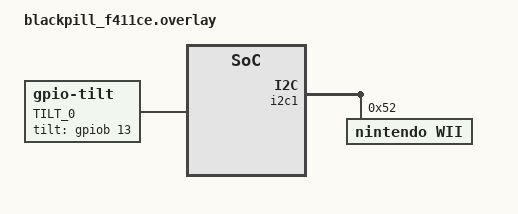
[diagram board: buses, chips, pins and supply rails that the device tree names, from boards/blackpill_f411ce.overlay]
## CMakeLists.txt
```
# Build script for shredlink application firmware
#
# Copyright (c) 2021 Brian Bradley

cmake_minimum_required(VERSION 3.20.0)
set(CMAKE_EXPORT_COMPILE_COMMANDS ON CACHE INTERNAL "")
list (APPEND SYSCALL_INCLUDE_DIRS 
    ${CMAKE_SOURCE_DIR}/../extras/drivers/wii
)
find_package(Zephyr REQUIRED HINTS $ENV{ZEPHYR_BASE})

project(shredlink LANGUAGES C VERSION 0.2.0)

configure_file(app_version.h.in ${CMAKE_BINARY_DIR}/app/include/app_version.h)
target_include_directories(app PRIVATE ${CMAKE_BINARY_DIR}/app/include src)

set(SHREDLINK_SOURCES
        src/main.c
        src/hid.c
)

if (CONFIG_GAMEPAD_DAQ_POLL_MODE)
    list(APPEND SHREDLINK_SOURCES src/polling.c)
else()
    message(FATAL_ERROR "Polling mode is disabled but is currently required, as interrupt mode is not yet supported.")
endif()

if (CONFIG_TILT_SENSOR)
    list(APPEND SHREDLINK_SOURCES src/tilt.c)
endif()

include_directories(include)
target_sources(app PRIVATE ${SHREDLINK_SOURCES})
```

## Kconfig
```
# Copyright (c) 2021 Brian Bradley
#
# This file is the application Kconfig entry point.

menu "Zephyr"
source "Kconfig.zephyr"
endmenu

menu "shredlink"
module = SHREDLINK
module-str = shredlink
source "subsys/logging/Kconfig.template.log_config"

config GAMEPAD_DAQ_POLL_MODE
    bool "Capture data from the gamepad via polling (as opposed to interrupt)"
    default y
    select POLL
    help
      Currently this is the only supported method of data acquisition.
      Eventually when more gamepad backends are supported (which support interrupts)
      this will be configurable.
if GAMEPAD_DAQ_POLL_MODE
    config GAMEPAD_POLL_RATE_HZ
        int "Set the poll rate for refreshing data from the gamepad"
        range 10 2500
        default 1100
        help
        The poll rate is in Hz (or frames per second).
endif
config SHREDLINK_DAQ_STACKSIZE
    int "Size of the stack allowed for the data acquisition process"
    range 512 8192
    default 2048
config SHREDLINK_DAQ_PRIORITY
    int "Priority for the data acquisition process"
    range 0 7
    default 7
config SHREDLINK_DAQ_START_DELAY
    int "Delay (in milliseconds) before starting the daq process"
    range 0 5000
    default 0
config SHREDLINK_HID_STACKSIZE
    int "Size of the stack allowed for the hid reporting process"
    range 512 8192
    default 2048
config SHREDLINK_HID_PRIORITY
    int "Priority for the hid reporting process"
    range 0 7
    default 7
endmenu
```

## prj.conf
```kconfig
# Copyright (c) 2022 Brian Bradley
#
# This file contains selected Kconfig options for the shredlink application firmware.

CONFIG_EVENTS=y
CONFIG_WII_PERIPHERAL_DRIVER=y
CONFIG_I2C=y
CONFIG_APPLICATION_DEFINED_SYSCALL=y
CONFIG_USB_DEVICE_STACK=y
CONFIG_USB_DEVICE_HID=y
CONFIG_USB_DEVICE_PRODUCT="shredlink"
CONFIG_USB_HID_POLL_INTERVAL_MS=0
CONFIG_GAMEPAD_POLL_RATE_HZ=1400

# Tilt sensor configuration
CONFIG_SENSOR=y
CONFIG_GPIO=y
CONFIG_TILT_SENSOR=y
CONFIG_GPIO_TILT_SENSOR=y
CONFIG_TILT_SENSOR_TRIGGER=y
CONFIG_TILT_SENSOR_TRIGGER_OWN_THREAD=y
CONFIG_TILT_SENSOR_MINIMUM_HOLD_TIME_MS=150
```

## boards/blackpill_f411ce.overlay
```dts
/*
 * Copyright 2021 Brian Bradley
 *
 * SPDX-License-Identifier: Apache-2.0
 */

&i2c1 {
	wii_guitar: wii@52 {
		compatible = "nintendo,wii";
		reg = <0x52>;
		label = "WII";
	};
};

/ {
    tilt0: tilt_0 {
        label = "TILT_0";
        compatible = "gpio-tilt";
        tilt-gpios = <&gpiob 13 (GPIO_ACTIVE_HIGH | GPIO_PULL_UP)>;
    };
};
```

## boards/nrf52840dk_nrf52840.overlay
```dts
/*
 * Copyright 2021 Brian Bradley
 *
 * SPDX-License-Identifier: Apache-2.0
 */

&i2c0 {
	wii_guitar: wii@52 {
		compatible = "nintendo,wii";
		reg = <0x52>;
		label = "WII";
	};
};

/ {
    tilt0: tilt_0 {
        label = "TILT_0";
        compatible = "gpio-tilt";
        tilt-gpios = <&gpio0 2 (GPIO_PULL_UP | GPIO_ACTIVE_LOW)>;
    };
};
```

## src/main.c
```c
/**
 * @file main.c
 * @author Brian Bradley (brian.bradley.p@gmail.com)
 * @date 2022-02-18
 * 
 * @copyright Copyright (C) 2022 Brian Bradley
 * 
 * SPDX-License-Identifier: Apache-2.0
 * 
 */

#include <zephyr/kernel.h>
#include <zephyr/logging/log.h>
#include <app_version.h>

LOG_MODULE_REGISTER(shredlink, CONFIG_SHREDLINK_LOG_LEVEL);

void main(void)
{
	LOG_INF("Starting %s version: %s", APP_NAME_STR, APP_VERSION_STR);
}
```

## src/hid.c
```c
/**
 * @file hid.c
 * @author Brian Bradley (brian.bradley.p@gmail.com)
 * @date 2022-02-21
 * 
 * @copyright Copyright (C) 2022 Brian Bradley
 * 
 * SPDX-License-Identifier: Apache-2.0
 * 
 */
#include <zephyr/kernel.h>
#include <zephyr/device.h>
#include <zephyr/logging/log.h>
#include <shredlink/hid.h>
#include <zephyr/usb/usb_device.h>
#include <zephyr/usb/class/usb_hid.h>

LOG_MODULE_DECLARE(shredlink, CONFIG_SHREDLINK_LOG_LEVEL);

#ifdef CONFIG_TILT_SENSOR
#define BTN_COUNT	10
#else
#define BTN_COUNT 9
#endif
static const uint8_t hid_report_desc[] = 
{
	HID_USAGE_PAGE(HID_USAGE_GEN_DESKTOP),
	HID_USAGE(HID_USAGE_GEN_DESKTOP_GAMEPAD),
	HID_COLLECTION(HID_COLLECTION_APPLICATION),
	HID_COLLECTION(HID_COLLECTION_PHYSICAL),
			/* Bits used for button signalling */
			HID_USAGE_PAGE(HID_USAGE_GEN_BUTTON),
			HID_USAGE_MIN8(1),
			HID_USAGE_MAX8(BTN_COUNT),
			HID_LOGICAL_MIN8(0),
			HID_LOGICAL_MAX8(1),
			HID_REPORT_COUNT(BTN_COUNT),
			HID_REPORT_SIZE(1),
			/* HID_INPUT (Data,Var,Abs) */
			HID_INPUT(0x02),
			/* Unused bits */
			HID_REPORT_SIZE(16 - BTN_COUNT),
			HID_REPORT_COUNT(1),
			/* HID_INPUT (Cnst,Ary,Abs) */
			HID_INPUT(1),
			/* X and Y axis joystick */
			HID_USAGE_PAGE(HID_USAGE_GEN_DESKTOP),
			HID_USAGE(HID_USAGE_GEN_DESKTOP_X),
			HID_USAGE(HID_USAGE_GEN_DESKTOP_Y),
			HID_LOGICAL_MIN8(0),
			HID_LOGICAL_MAX8(63),
			HID_REPORT_SIZE(8),
			HID_REPORT_COUNT(2),
			/* HID_INPUT (Data,Var,Abs) */
			HID_INPUT(0x02),
			/* whammy bar */
			HID_USAGE_PAGE(HID_USAGE_GEN_DESKTOP),
            /* Slider object. May be a more appropriate usage */
			HID_USAGE(0x36),
			HID_LOGICAL_MIN8(0),
			HID_LOGICAL_MAX8(31),
			HID_REPORT_SIZE(8),
			HID_REPORT_COUNT(1),
			/* HID_INPUT (Data,Var,Abs) */
			HID_INPUT(0x02),
		HID_END_COLLECTION,
	HID_END_COLLECTION,
};

/**
 * @brief Pack the hid report so that it can be sent raw
 * rather than packing into a coniguous array manually.
 * 
 */
struct __attribute__((packed)) hid_report{
	uint16_t buttons;
	uint8_t axes[2];
	uint8_t whammy;
};

K_MSGQ_DEFINE(hid_msgq, sizeof(struct hid_report), 5, 4);

/**
 * @brief Packs gamepad data into the prepared hid report format
 * 
 * @param rpt : pointer to hid report to fill
 * @param data : pointer to data frame with which to fill the report
 * @retval -ENODEV on rpt or data NULL
 * @retval 0 on success
 */
static int fill_hid_report(struct hid_report * rpt, struct gamepad * data){
	if (rpt == NULL || data == NULL){
		return -ENODEV;
	}
	rpt->axes[0] = data->axes[0];
	rpt->axes[1] = data->axes[1];
	rpt->whammy = data->axes[2];
	rpt->buttons = data->buttons;
	return 0;
}

int submit_frame_data(struct gamepad * frame){
    struct hid_report report;
    int ret = fill_hid_report(&report, frame);
    if (ret == 0){
            while ((ret = k_msgq_put(&hid_msgq, &report, K_NO_WAIT)) != 0) {
            /* message queue is full: purge old data & try again */
            k_msgq_purge(&hid_msgq);
        }
    }
    return ret;
}

static enum usb_dc_status_code usb_status;
static void status_cb(enum usb_dc_status_code status, const uint8_t *param)
{
	usb_status = status;
}

void hid_process(void){
    const struct device *hid;
	int ret;
    hid = device_get_binding("HID_0");
	if (hid == NULL) {
		LOG_ERR("Cannot get USB HID Device");
		return;
	}
	usb_hid_register_device(hid,
				hid_report_desc, sizeof(hid_report_desc),
				NULL);

	usb_hid_init(hid);

	ret = usb_enable(status_cb);
	if (ret != 0) {
		LOG_ERR("Failed to enable USB");
		return;
	}
	struct hid_report last_report = {0};
    while(1){
        /* Grab the latest report when it is available,
        and send it if the data is new */
        struct hid_report report = {0};
        if (k_msgq_get(&hid_msgq, &report, K_FOREVER) == 0)
		{
            /* Check if the report is new */
            if (memcmp(&report, &last_report, sizeof(struct hid_report)) != 0){
				/* Data doesn't match. Immediately send an update to the host. */
				ret = hid_int_ep_write(hid, (const uint8_t *)&report, sizeof(report), NULL);
				if (ret) {
					LOG_ERR("HID write error, %d", ret);
				}
                /* Update the latest data */
			    memcpy(&last_report, &report, sizeof(struct hid_report));
			}
        }
    }
}

K_THREAD_DEFINE(hid_reporting, CONFIG_SHREDLINK_HID_STACKSIZE, hid_process, 
	NULL, NULL, NULL, CONFIG_SHREDLINK_HID_PRIORITY, 0, 0);
```

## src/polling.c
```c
/**
 * @file polling.c
 * @author Brian Bradley (brian.bradley.p@gmail.com)
 * @brief Poll gamepad for new data when in polling acquisiton mode.
 * @date 2022-02-20
 * 
 * @copyright Copyright (C) 2022 Brian Bradley
 * 
 * SPDX-License-Identifier: Apache-2.0
 * 
 */
#include <zephyr/kernel.h>
#include <wii.h>
#include <zephyr/sys/util.h>
#include <zephyr/logging/log.h>
#include <shredlink/daq.h>
#include <shredlink/hid.h>

LOG_MODULE_DECLARE(shredlink, CONFIG_SHREDLINK_LOG_LEVEL);

K_EVENT_DEFINE(tilt_ev);

#define EVENT_TILT_ACTIVE	BIT(0)
#define EVENT_TILT_INACTIVE	BIT(1)

/**
 * @TODO: This will eventually be moved into the gamepad api
 * 
 */
struct __attribute__((packed)) guitar_data{
	uint8_t analog_x: 6;
	uint8_t gh0: 2;
	uint8_t analog_y: 6;
	uint8_t gh1: 2;
	uint8_t touchbar: 5;
	uint8_t empty0: 3;
	uint8_t whammy: 5;
	uint8_t empty1: 3;
	uint8_t empty2: 2;
	uint8_t button_plus: 1;
	uint8_t empty3: 1;
	uint8_t button_minus: 1;
	uint8_t empty4: 1;
	uint8_t strum_down: 1;
	uint8_t empty5: 1;
	uint8_t strum_up: 1;
	uint8_t empty6: 2;
	uint8_t neck: 5;
};

/**
 * @brief This union is a conveient container which allows
 * easily converting between raw frame data, and useful
 * gamepad data without needing to mask and shift everything
 * manually.
 * 
 */
typedef union wii_data_fmt{
	struct wii_btn_data frame;
	struct guitar_data guitar;
}wii_fmt_t;

struct polling_work_item{
    struct k_work_poll work;
    struct k_poll_signal signal;
    struct k_poll_event event;
};

int signal_tilt_event(bool tilt){
	uint32_t event = tilt ? EVENT_TILT_ACTIVE : EVENT_TILT_INACTIVE;
	k_event_set(&tilt_ev, event);
	return 0;
}

static int pack_gamepad_data(struct gamepad * packed, struct wii_btn_data frame, int32_t tilt){
	if (packed == NULL){
		return -ENODEV;
	}
    wii_fmt_t fmt = {
        .frame = frame
    };
	packed->axes[0] = fmt.guitar.analog_x;
	packed->axes[1] = fmt.guitar.analog_y;
	packed->axes[2] = fmt.guitar.whammy;
	packed->buttons = fmt.guitar.neck;
	WRITE_BIT(packed->buttons, 5, fmt.guitar.button_plus);
	WRITE_BIT(packed->buttons, 6, fmt.guitar.button_minus);
	WRITE_BIT(packed->buttons, 7, fmt.guitar.strum_up);
	WRITE_BIT(packed->buttons, 8, fmt.guitar.strum_down);
    WRITE_BIT(packed->buttons, 9, !tilt);

    /**
     * @TODO: The logic level is inverted on the wii guitar I am testing with.
     * This should be handled in the gamepad API instead of the application layer.
     * 
     */
	packed->buttons ^= UINT32_MAX; /* logic level is inverted */
	LOG_DBG("report: x: %d y: %d whammy: %d buttons: %02x", packed->axes[0], packed->axes[1], packed->axes[2], packed->buttons);
	return 0;
}

/**
 * @brief work process which handles data acquisition
 * and submission of a single data frame.
 * 
 * @param work : work queue entry item
 */
static void poll_work_item(struct k_work *work){
    const struct device *wii = DEVICE_DT_GET(DT_NODELABEL(wii_guitar));
    int ret = 0;
    struct wii_btn_data data = {0};
    if ((ret = wii_peripheral_fetch(wii, &data)) != 0){
        LOG_ERR("gamepad fetch error: %d", ret);
    }
    else{
        /* Data retrieved. Check if tilt data became available */
		uint32_t events;
		static int32_t tilt = 0;
		events = k_event_wait(&tilt_ev, 
			EVENT_TILT_ACTIVE | EVENT_TILT_INACTIVE, 
			false, K_NO_WAIT);
		if (events & EVENT_TILT_ACTIVE){
			tilt = 1;
		}
		else if (events & EVENT_TILT_INACTIVE){
			tilt = 0;
		}
		/* Pack the data and submit it for output */
        struct gamepad gamepad;
        pack_gamepad_data(&gamepad, data, tilt);
        submit_frame_data(&gamepad);
    }
}

void gamepad_polling_process(void){
    static struct polling_work_item work_item;

    k_work_poll_init(&work_item.work, poll_work_item);
    k_poll_signal_init(&work_item.signal);
    k_poll_event_init(&work_item.event, 
                    K_POLL_TYPE_SIGNAL,
                    K_POLL_MODE_NOTIFY_ONLY,
                    &work_item.signal);

	while (1) {
        /* Submit work to the system workqueue to be processed in parallel
        to the waiting process. This way, any process latency associated
        with data acquisition and submission is fully decoupled from the
        requested poll rate. */
        k_work_poll_submit(&work_item.work, &work_item.event, 1, K_NO_WAIT);
		k_usleep(USEC_PER_SEC / CONFIG_GAMEPAD_POLL_RATE_HZ);
	}
}

K_THREAD_DEFINE(poller, CONFIG_SHREDLINK_DAQ_STACKSIZE, gamepad_polling_process, 
	NULL, NULL, NULL, CONFIG_SHREDLINK_DAQ_PRIORITY, 0, CONFIG_SHREDLINK_DAQ_START_DELAY);
```

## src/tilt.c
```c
/**
 * @file tilt.c
 * @author Brian Bradley (brian.bradley.p@gmail.com)
 * @date 2022-02-26
 * 
 * @copyright Copyright (C) 2022 Brian Bradley
 * 
 * SPDX-License-Identifier: Apache-2.0
 * 
 */
#include <zephyr/zephyr.h>
#include <zephyr/logging/log.h>
#include <zephyr/device.h>
#include <zephyr/drivers/sensor.h>
#include <drivers/sensor/tilt.h>
#include <shredlink/daq.h>

LOG_MODULE_DECLARE(shredlink, CONFIG_SHREDLINK_LOG_LEVEL);

#define TILT_SENSOR	DT_NODELABEL(tilt0)

/**
 * @brief Handler function when an interrupt is triggered on the tilt sensor
 * 
 * @param dev 
 * @param trig 
 */
static void tilt_trigger_handler(const struct device *dev,
			    const struct sensor_trigger *trig)
{  
	struct sensor_value tilt;
	int rc;
	rc = sensor_sample_fetch(dev);
	if (rc != 0) {
		LOG_DBG("tilt sensor fetch error: %d", rc);
		return;
	}
	rc = sensor_channel_get(dev, SENSOR_CHAN_TILT, &tilt);
	if (rc != 0) {
		LOG_DBG("tilt sensor get error: %d", rc);
		return;
	}
    signal_tilt_event(tilt.val1);
}

/**
 * @brief Setup the tilt sensor
 * 
 * @retval 0 on success
 * @retval -errno otherwise
 */
static int configure_tilt_sensor(){
    const struct device *tilt = DEVICE_DT_GET(TILT_SENSOR);
	int rc = 0;
	static struct sensor_trigger trig;
	trig.type = SENSOR_TRIG_THRESHOLD;
	trig.chan = SENSOR_CHAN_TILT;
	rc = sensor_trigger_set(tilt, &trig, tilt_trigger_handler);
	if (rc != 0) {
		LOG_ERR("Trigger set failed: %d", rc);
	}
	/* Manually trigger the handler to populate initial values */
	tilt_trigger_handler(tilt, &trig);
    return rc;
}

SYS_INIT(configure_tilt_sensor, APPLICATION, CONFIG_APPLICATION_INIT_PRIORITY);
```
